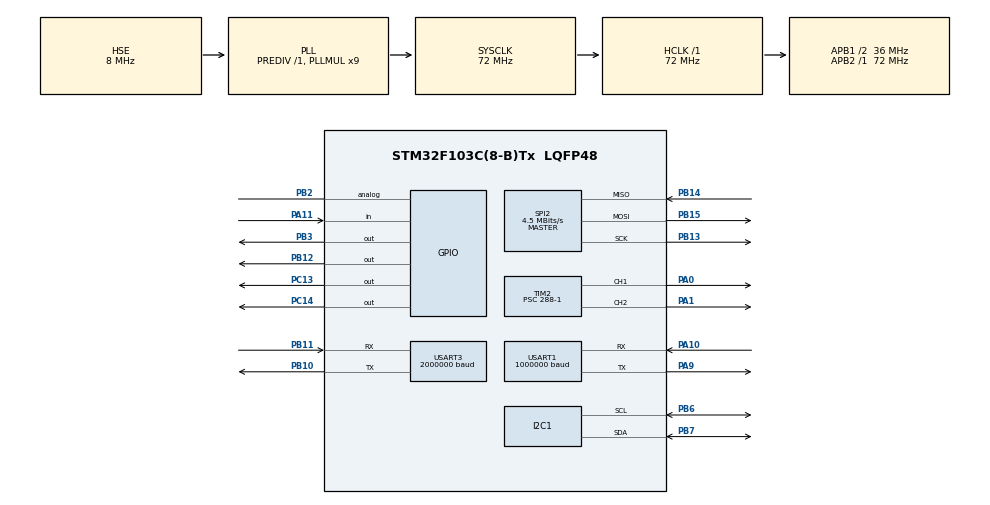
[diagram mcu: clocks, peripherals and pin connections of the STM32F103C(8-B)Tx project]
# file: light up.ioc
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Dma.Request0=USART1_RX
Dma.Request1=USART3_TX
Dma.USART1_RX.0.Direction=DMA_PERIPH_TO_MEMORY
Dma.USART1_RX.0.Instance=DMA1_Channel5
Dma.USART1_RX.0.MemDataAlignment=DMA_MDATAALIGN_BYTE
Dma.USART1_RX.0.MemInc=DMA_MINC_ENABLE
Dma.USART1_RX.0.Mode=DMA_CIRCULAR
Dma.USART1_RX.0.PeriphDataAlignment=DMA_PDATAALIGN_BYTE
Dma.USART1_RX.0.PeriphInc=DMA_PINC_DISABLE
Dma.USART1_RX.0.Priority=DMA_PRIORITY_LOW
Dma.USART3_TX.1.Direction=DMA_MEMORY_TO_PERIPH
Dma.USART3_TX.1.Instance=DMA1_Channel2
Dma.USART3_TX.1.MemDataAlignment=DMA_MDATAALIGN_BYTE
Dma.USART3_TX.1.MemInc=DMA_MINC_ENABLE
Dma.USART3_TX.1.Mode=DMA_NORMAL
Dma.USART3_TX.1.PeriphDataAlignment=DMA_PDATAALIGN_BYTE
Dma.USART3_TX.1.PeriphInc=DMA_PINC_DISABLE
Dma.USART3_TX.1.Priority=DMA_PRIORITY_VERY_HIGH
I2C1.I2C_Mode=I2C_Fast
Mcu.Family=STM32F1
Mcu.Name=STM32F103C(8-B)Tx
Mcu.Package=LQFP48
NVIC.DMA1_Channel2_IRQn=true\:0\:0\:false\:false\:true\:false\:true\:true
NVIC.DMA1_Channel5_IRQn=true\:1\:1\:true\:false\:true\:false\:true\:true
NVIC.PriorityGroup=NVIC_PRIORITYGROUP_3
NVIC.TIM1_UP_IRQn=true\:2\:1\:true\:false\:true\:true\:true\:true
NVIC.TIM2_IRQn=true\:4\:0\:true\:false\:true\:true\:true\:true
NVIC.TIM3_IRQn=true\:4\:0\:true\:false\:true\:true\:true\:true
NVIC.TIM4_IRQn=true\:2\:1\:true\:false\:true\:true\:true\:true
NVIC.USART1_IRQn=true\:3\:1\:true\:false\:true\:true\:true\:true
NVIC.USART3_IRQn=true\:3\:0\:true\:false\:true\:true\:true\:true
PA0-WKUP.Signal=S_TIM2_CH1_ETR
PA1.Signal=S_TIM2_CH2
PA10.Mode=Asynchronous
PA10.Signal=USART1_RX
PA11.GPIO_PuPd=GPIO_PULLUP
PA11.Signal=GPIO_Input
PA13.Mode=Serial_Wire
PA13.Signal=SYS_JTMS-SWDIO
PA14.Mode=Serial_Wire
PA14.Signal=SYS_JTCK-SWCLK
PA2.Signal=USART2_TX
PA3.Signal=USART2_RX
PA9.Mode=Asynchronous
PA9.Signal=USART1_TX
PB10.Mode=Asynchronous
PB10.Signal=USART3_TX
PB11.Mode=Asynchronous
PB11.Signal=USART3_RX
PB12.GPIO_Speed=GPIO_SPEED_FREQ_HIGH
PB12.PinState=GPIO_PIN_SET
PB12.Signal=GPIO_Output
PB13.Mode=Full_Duplex_Master
PB13.Signal=SPI2_SCK
PB14.Mode=Full_Duplex_Master
PB14.Signal=SPI2_MISO
PB15.Mode=Full_Duplex_Master
PB15.Signal=SPI2_MOSI
PB2.Signal=GPIO_Analog
PB3.Signal=GPIO_Output
PB6.Mode=I2C
PB6.Signal=I2C1_SCL
PB7.Mode=I2C
PB7.Signal=I2C1_SDA
PC13-TAMPER-RTC.Signal=GPIO_Output
PC14-OSC32_IN.GPIO_Speed=GPIO_SPEED_FREQ_LOW
PC14-OSC32_IN.PinState=GPIO_PIN_SET
PC14-OSC32_IN.Signal=GPIO_Output
PD0-OSC_IN.Mode=HSE-External-Oscillator
PD0-OSC_IN.Signal=RCC_OSC_IN
PD1-OSC_OUT.Mode=HSE-External-Oscillator
PD1-OSC_OUT.Signal=RCC_OSC_OUT
ProjectManager.HeapSize=0x200
ProjectManager.StackSize=0x400
ProjectManager.TargetToolchain=MDK-ARM V5
RCC.AHBFreq_Value=72000000
RCC.APB1CLKDivider=RCC_HCLK_DIV2
RCC.APB1Freq_Value=36000000
RCC.APB1TimFreq_Value=72000000
RCC.APB2Freq_Value=72000000
RCC.APB2TimFreq_Value=72000000
RCC.HCLKFreq_Value=72000000
RCC.PLLMUL=RCC_PLL_MUL9
RCC.PLLSourceVirtual=RCC_PLLSOURCE_HSE
RCC.RCC_MCOSource=RCC_MCO1SOURCE_PLLCLK
RCC.SYSCLKFreq_VALUE=72000000
RCC.SYSCLKSource=RCC_SYSCLKSOURCE_PLLCLK
RCC.USBFreq_Value=72000000
SH.S_TIM2_CH1_ETR.0=TIM2_CH1,PWM Generation1 CH1
SH.S_TIM2_CH2.0=TIM2_CH2,PWM Generation2 CH2
SPI2.BaudRatePrescaler=SPI_BAUDRATEPRESCALER_8
SPI2.CLKPhase=SPI_PHASE_2EDGE
SPI2.CLKPolarity=SPI_POLARITY_HIGH
SPI2.CRCCalculation=SPI_CRCCALCULATION_DISABLE
SPI2.CalculateBaudRate=4.5 MBits/s
SPI2.Direction=SPI_DIRECTION_2LINES
SPI2.Mode=SPI_MODE_MASTER
SPI2.VirtualType=VM_MASTER
TIM1.AutoReloadPreload=TIM_AUTORELOAD_PRELOAD_ENABLE
TIM1.Period=10-1
TIM1.Prescaler=72-1
TIM2.AutoReloadPreload=TIM_AUTORELOAD_PRELOAD_ENABLE
TIM2.Channel-PWM\ Generation1\ CH1=TIM_CHANNEL_1
TIM2.Channel-PWM\ Generation2\ CH2=TIM_CHANNEL_2
TIM2.OCFastMode_PWM-PWM\ Generation1\ CH1=TIM_OCFAST_ENABLE
TIM2.OCFastMode_PWM-PWM\ Generation2\ CH2=TIM_OCFAST_ENABLE
TIM2.Period=50-1
TIM2.Prescaler=288-1
TIM2.Pulse-PWM\ Generation1\ CH1=25
TIM2.Pulse-PWM\ Generation2\ CH2=25
TIM3.AutoReloadPreload=TIM_AUTORELOAD_PRELOAD_DISABLE
TIM3.Period=1000-1
TIM3.Prescaler=7200-1
TIM4.Period=10-1
TIM4.Prescaler=7200-1
USART1.BaudRate=1000000
USART1.VirtualMode=VM_ASYNC
USART3.BaudRate=2000000
USART3.Mode=MODE_TX
USART3.VirtualMode=VM_ASYNC
VP_TIM1_VS_ClockSourceINT.Mode=Internal
VP_TIM2_VS_ClockSourceINT.Mode=Internal
VP_TIM3_VS_ClockSourceINT.Mode=Internal
VP_TIM4_VS_ClockSourceINT.Mode=Internal
board=custom

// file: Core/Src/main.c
/* USER CODE BEGIN Header */
/**
 ******************************************************************************
 * @file           : main.c
 * @brief          : Main program body
 ******************************************************************************
 * @attention
 *
 * Copyright (c) 2025 STMicroelectronics.
 * All rights reserved.
 *
 * This software is licensed under terms that can be found in the LICENSE file
 * in the root directory of this software component.
 * If no LICENSE file comes with this software, it is provided AS-IS.
 *
 ******************************************************************************
 */
/* USER CODE END Header */
#include "main.h"
#include "dma.h"
#include "i2c.h"
#include "spi.h"
#include "tim.h"
#include "usart.h"
#include "gpio.h"

/* USER CODE BEGIN PV */
sysWorkMode system_mode = MODE_CALIBRITION;
/* DRV8833 --------------------------------------------------------*/
DRV8833_HandleTypeDef hdrv1 = {
    .CHANNEL_A = {.direction = DRV_STAGE_COAST,
                  .htim      = &DRV_A_PWM_TIMER,
                  .CH1       = DRV_AIN1_PWM_CH1,
                  .CH2       = DRV_AIN2_PWM_CH2},
    // .CHANNEL_B   = {.direction = DRV_STAGE_COAST,
    //                 .htim      = &DRV_B_PWM_TIMER,
    //                 .CH1       = DRV_BIN1_PWM_CH1,
    //                 .CH2       = DRV_BIN2_PWM_CH2},
    .nSLEEP_Port = DRV_nSLEEP_GPIO_PORT,
    .nSLEEP_Pin  = DRV_nSLEEP_PIN,
};

volatile bool drv_excitingLevel = 0;
float drv_PWM_freq              = 200.0f;
float drv_PWM_DR                = 50.0f;
bool drv_PWM_isChanged          = true;
uint32_t drv_PWM_cnt            = 0;
uint32_t drv_PWM_halfCnt        = 0;
uint32_t drv_PWM_assertCnt      = 0;
volatile bool freq_scan_enabled = false;
volatile bool DR_scan_enabled   = false;

/* LDC1101 --------------------------------------------------------*/
LDC1101_HandleTypeDef ldc2       = {&hspi2, LDC2_CS_GPIO_PORT, LDC2_CS_PIN};
volatile bool ldc2_isWorking     = false;
volatile bool ldc2_isReading     = false;
volatile bool ldc2_isReadingPrev = false;
volatile bool ldc2_dataReady     = false;
uint8_t LDC_status               = 0;
uint16_t Rp_data                 = 0;
uint16_t L_data                  = 0;
uint32_t LHR_data                = 0;

/* Calibrition --------------------------------------------------------*/
extern float mean_episode[CAL_SAMPLE_EPISODE] = {0};
extern uint8_t cal_episode_cnt                = 0;
uint32_t cal_wait_start_tick                  = 0;
uint32_t cal_sample_cnt                       = 0;
uint64_t cal_sum                              = 0;
uint64_t cal_sum_sq                           = 0;
uint32_t cal_total_sample_cnt                 = 0;
uint64_t cal_total_sum                        = 0;
uint64_t cal_total_sum_sq                     = 0;
volatile CalState_t cal_state                 = CAL_IDLE;
uint16_t cal_current_position_um              = 0;

/* UART -----------------------------------------------------------*/
/* UART1 */
volatile uint8_t UART1_RX_activeBuffer = 0;
char UART1_RX_DMA_buffer[2][MSG_LEN]   = {0};
char UART1_TX_buffer[MSG_LEN]          = {0};
bool UART1_TX_send                     = false;
/* UART3 */
uint8_t UART3_TX_buffer[QUEUE_LEN * 9];
uint8_t frame[9];
uint8_t * volatile UART3_TX_head = UART3_TX_buffer;
uint8_t * volatile UART3_TX_tail = UART3_TX_buffer;
volatile bool UART3_DMA_busy     = false;
/* KEY ------------------------------------------------------------*/

/* OLED -----------------------------------------------------------*/

/* USER CODE END PV */

void SystemClock_Config(void);

/* USER CODE BEGIN 0 */
void DRV_Start(DRV8833_Channel *ch, TIM_HandleTypeDef *htim) {
    HAL_GPIO_WritePin(hdrv1.nSLEEP_Port, hdrv1.nSLEEP_Pin, GPIO_PIN_SET);
    HAL_TIM_PWM_Start(ch->htim, ch->CH1);
    HAL_TIM_PWM_Start(ch->htim, ch->CH2);

    HAL_TIM_Base_Start_IT(htim);
}
void DRV_Stop(DRV8833_Channel *ch, TIM_HandleTypeDef *htim) {
    HAL_GPIO_WritePin(hdrv1.nSLEEP_Port, hdrv1.nSLEEP_Pin, GPIO_PIN_RESET);
    HAL_TIM_PWM_Stop(ch->htim, ch->CH1);
    HAL_TIM_PWM_Stop(ch->htim, ch->CH2);

    HAL_TIM_Base_Stop_IT(htim);
    /* Keep TIM2 running for button scanning even when PWM is stopped. */
    HAL_TIM_Base_Start_IT(&htim2);
}

static uint16_t UART3_BufferUsedUnsafe(void) {
    const uint16_t buffer_len = sizeof(UART3_TX_buffer);
    uint16_t head_offset      = (uint16_t)(UART3_TX_head - UART3_TX_buffer);
    uint16_t tail_offset      = (uint16_t)(UART3_TX_tail - UART3_TX_buffer);

    if (head_offset >= tail_offset) {
        return head_offset - tail_offset;
    }
    return buffer_len - (tail_offset - head_offset);
}
/* Queue arbitrary TX bytes; call UART3_StartTx() after batching frames */
bool UART3_Enqueue(const uint8_t *data, uint16_t len) {
    uint32_t primask = __get_PRIMASK();
    __disable_irq(); /* Critical Section Begin */

    const uint16_t buffer_len = sizeof(UART3_TX_buffer);
    uint16_t used             = UART3_BufferUsedUnsafe();
    uint16_t free_space       = buffer_len - used - 1;

    if (free_space < len) {
        __set_PRIMASK(primask); /* Critical Section End */
        return false;
    }

    for (uint16_t i = 0; i < len; i++) {
        *UART3_TX_head = data[i];
        UART3_TX_head++;
        if (UART3_TX_head >= UART3_TX_buffer + buffer_len) {
            UART3_TX_head = UART3_TX_buffer;
        }
    }
    __set_PRIMASK(primask); /* Critical Section End */
    return true;
}
/* Start DMA transmission if idle; safe to call repeatedly */
void UART3_StartTx(void) {
    uint32_t primask = __get_PRIMASK();
    __disable_irq(); /* Critical Section Begin */
    if (UART3_DMA_busy || (UART3_TX_head == UART3_TX_tail)) {
        __set_PRIMASK(primask); /* Critical Section End */
        return;
    }

    const uint16_t buffer_len = sizeof(UART3_TX_buffer);
    uint8_t *start            = UART3_TX_tail;
    uint16_t size;
    if (UART3_TX_head > UART3_TX_tail) {
        size = (uint16_t)(UART3_TX_head - UART3_TX_tail);
    } else {
        size = (uint16_t)((UART3_TX_buffer + buffer_len) - UART3_TX_tail);
    }
    UART3_DMA_busy = true;
    __set_PRIMASK(primask);

    if (HAL_UART_Transmit_DMA(&huart3, start, size) != HAL_OK) {
        primask = __get_PRIMASK();
        __disable_irq(); /* Critical Section Begin */
        UART3_DMA_busy = false;
        __set_PRIMASK(primask); /* Critical Section End */
    }
}
void UART1_Log(const char *level, const char *file, int line, const char *message) {
    uint32_t ticks   = HAL_GetTick();
    uint32_t hours   = ticks / 3600000U;
    uint32_t minutes = (ticks / 60000U) % 60U;
    uint32_t seconds = (ticks / 1000U) % 60U;
    uint32_t millis  = ticks % 1000U;
    char time_buf[16];
    snprintf(time_buf, sizeof(time_buf), "%02lu:%02lu:%02lu.%03lu", (unsigned long)hours, (unsigned long)minutes,
             (unsigned long)seconds, (unsigned long)millis);

    char msg_copy[MSG_LEN];
    strncpy(msg_copy, message, MSG_LEN - 1);
    msg_copy[MSG_LEN - 1] = '\0';

    snprintf(UART1_TX_buffer, MSG_LEN, "[%s] [%s] [%s:%d] %s\r\n", level, time_buf, file, line, msg_copy);
    HAL_UART_Transmit(&huart1, (uint8_t *)UART1_TX_buffer, strlen(UART1_TX_buffer), HAL_MAX_DELAY);
}

static void StartReading(void) {
    DRV_Start(&hdrv1.CHANNEL_A, &htim1);
    HAL_TIM_Base_Stop_IT(&htim3);
}
static void StopReading(void) {
    DRV_Stop(&hdrv1.CHANNEL_A, &htim1);
    HAL_TIM_Base_Start_IT(&htim3);

    HAL_UART_DMAStop(&huart3);
    UART3_DMA_busy = false;
    UART3_TX_head = UART3_TX_tail = UART3_TX_buffer;
    memset(UART3_TX_buffer, 0, sizeof(UART3_TX_buffer));
}

/* USER CODE END 0 */

int main(void) {

    /* MCU Configuration--------------------------------------------------------*/

    /* Reset of all peripherals, Initializes the Flash interface and the Systick. */
    HAL_Init();

    /* Configure the system clock */
    SystemClock_Config();

    /* Initialize all configured peripherals */
    MX_GPIO_Init();
    MX_DMA_Init();
    MX_USART1_UART_Init();
    MX_USART3_UART_Init();
    MX_I2C1_Init();
    MX_SPI2_Init();
    MX_TIM1_Init();
    MX_TIM2_Init();
    MX_TIM3_Init();
    MX_TIM4_Init();
    /* USER CODE BEGIN 2 */
    buttons_init();
    HAL_TIM_Base_Start_IT(&htim2);
    if (system_mode == MODE_CALIBRITION) {
        cal_current_position_um = CALIBRITION_START_UM;
        uint8_t init_frame[11];
        memset(init_frame, 0xFF, sizeof(init_frame));
        bool init_enqueued = UART3_Enqueue(init_frame, sizeof(init_frame));
        if (init_enqueued) {
            UART3_StartTx();
        }
    }

    snprintf(UART1_TX_buffer, sizeof(UART1_TX_buffer), "System Mode: %s", system_mode ? "CALIBRITION" : "MEASUREMENT");
    UART1_Log("INFO", "main.c", __LINE__, UART1_TX_buffer);

    /* UART1 DMA Init */
    HAL_UART_Receive_DMA(&huart1, (uint8_t *)UART1_RX_DMA_buffer[UART1_RX_activeBuffer], MSG_LEN);
    __HAL_UART_ENABLE_IT(&huart1, UART_IT_IDLE);

    /* OLED Init */
    OLED_Init();
    OLED_Clear();
    OLED_Display_On();
    HAL_TIM_Base_Start_IT(&htim3);
    /* DRV8833 Init */
    DRV_Init(&hdrv1);
    UART1_Log("INFO", "main.c", __LINE__, "DRV8833 Initialization Done...");

    /* LDC1101 Init */
    if (ldc1101_init(&ldc2, _LDC1101_RP_SET_RP_MIN_1_5KOhm)) {
        UART1_Log("ERROR", "main.c", __LINE__, "LDC1101 Initialization Failed...");
    } else {
        UART1_Log("INFO", "main.c", __LINE__, "LDC1101 Initialization Done...");
        uint16_t rcount = (uint16_t)(ldc1101_readByte(&ldc2, _LDC1101_REG_LHR_RCOUNT_LSB));
        rcount |= (uint16_t)(ldc1101_readByte(&ldc2, _LDC1101_REG_LHR_RCOUNT_MSB) << 8);
        const float f_clk_hz    = 16000000.0f;                 // LDC1101 Extenal Reference Clock Frequency = 16MHz
        const float conv_cycles = (float)(rcount * 16U + 55U); // RCOUNT*16 + 55 reference cycles
        float sample_rate_hz    = f_clk_hz / conv_cycles;
        float sample_rate_ksps  = sample_rate_hz / 1000.0f;
        snprintf(UART1_TX_buffer, sizeof(UART1_TX_buffer), "LDC1101 sample rate: %.3f kSPS (RCOUNT=0x%04X)",
                 sample_rate_ksps, rcount);
        UART1_Log("TRACE", "main.c", __LINE__, UART1_TX_buffer);
        ldc2_isWorking = true;
    }
    /* USER CODE END 2 */

    /* Infinite loop */
    /* USER CODE BEGIN WHILE */
    while (1) {
        if (system_mode == MODE_MEASUREMENT) {
            /* DRV8833 Frequency Control */
            if (drv_PWM_isChanged) {
                // TIM1 Interrupt Frequency = 100kHz  (72MHz / 72 / 10)
                const float baseFreq = 100000.0f;
                // Calculate the number of interrupts needed for one period
                float cnt_f       = baseFreq / drv_PWM_freq;
                drv_PWM_cnt       = (uint32_t)(cnt_f + 0.5f);
                float assert_f    = cnt_f * (drv_PWM_DR / 100.0f);
                drv_PWM_assertCnt = (uint32_t)(assert_f + 0.5f);
                drv_PWM_halfCnt   = drv_PWM_cnt / 2;
                drv_PWM_isChanged = false;
            }

            /* LDC Reading Control */
            if (ldc2_isReading != ldc2_isReadingPrev) {
                if (ldc2_isReading)
                    StartReading();
                else
                    StopReading();
                ldc2_isReadingPrev = ldc2_isReading;
            }
            /* LDC Data Get and Transmit */
            if (ldc2_isReading) {
                LDC_status = ldc1101_readByte(&ldc2, _LDC1101_REG_LHR_STATUS);
                if ((LDC_status & 0x01) == 0)
                    ldc2_dataReady = true;
                if (ldc2_dataReady) {
                    ldc2_dataReady = false;
                    LHR_data       = ldc1101_getLHRData(&ldc2);
                    // === frame [LHR(4B)][Freq(2B)][Duty(1B)][Level(1B)][Pad(2B)] ===
                    frame[0]             = (uint8_t)(LHR_data);
                    frame[1]             = (uint8_t)(LHR_data >> 8);
                    frame[2]             = (uint8_t)(LHR_data >> 16);
                    frame[3]             = (uint8_t)(LHR_data >> 24);
                    uint16_t freq_scaled = (uint16_t)(drv_PWM_freq * 100.0f);
                    frame[4]             = (uint8_t)(freq_scaled);
                    frame[5]             = (uint8_t)(freq_scaled >> 8);
                    frame[6]             = (uint8_t)drv_PWM_DR;
                    frame[7]             = (uint8_t)drv_excitingLevel;
                    frame[8]             = 0xAA;

                    // ===== enqueue frame into ring buffer =====
                    bool frame_enqueued = UART3_Enqueue(frame, sizeof(frame));

                    // ===== Data Transmission =====
                    if (frame_enqueued) {
                        UART3_StartTx();
                    }
                }
            }
        } else if (system_mode == MODE_CALIBRITION) {
            /* LDC Reading Control */
            switch (cal_state) {
                case CAL_WAIT_SETTLE:
                    if ((HAL_GetTick() - cal_wait_start_tick) >= CAL_SETTLE_TIME_MS) {
                        cal_state = CAL_SAMPLING;
                    } else {
                        break;
                    }
                    /* fallthrough */
                case CAL_SAMPLING:
                    HAL_TIM_Base_Stop_IT(&htim3);
                    LDC_status = ldc1101_readByte(&ldc2, _LDC1101_REG_LHR_STATUS);
                    if ((LDC_status & 0x01) == 0) {
                        ldc2_dataReady = true;
                    }
                    if (ldc2_dataReady) {
                        ldc2_dataReady = false;
                        LHR_data       = ldc1101_getLHRData(&ldc2);
                        cal_sample_cnt++;
                        cal_sum += LHR_data;
                        cal_sum_sq += (uint64_t)LHR_data * LHR_data;
                        cal_total_sample_cnt++;
                        cal_total_sum += LHR_data;
                        cal_total_sum_sq += (uint64_t)LHR_data * LHR_data;
                        // ===== Data Transmission =====
                        if (cal_sample_cnt >= CAL_SAMPLE_NUM) {
                            cal_state = CAL_DONE;
                        }
                    }
                    if (cal_state != CAL_DONE) {
                        break;
                    }
                    /* fallthrough */
                case CAL_DONE: {
                    float sample_cnt              = (float)cal_sample_cnt;
                    float episode_mean            = (float)cal_sum / sample_cnt;
                    mean_episode[cal_episode_cnt] = episode_mean;
                    cal_episode_cnt++;

                    if (cal_episode_cnt < CAL_SAMPLE_EPISODE) {
                        cal_sample_cnt      = 0;
                        cal_sum             = 0;
                        cal_sum_sq          = 0;
                        cal_wait_start_tick = HAL_GetTick();
                        cal_state           = CAL_WAIT_SETTLE;
                    } else {
                        float total_cnt = (float)cal_total_sample_cnt;
                        float mean      = (float)cal_total_sum / total_cnt;
                        float var       = (float)cal_total_sum_sq / total_cnt - mean * mean;
                        uint8_t cal_frame[11];
                        /* Frame: [cal_current_position_um(2B)][mean(4B float LE)][var(4B float LE)][0xAA] */
                        memcpy(&cal_frame[0], &cal_current_position_um, sizeof(cal_current_position_um));
                        memcpy(&cal_frame[2], &mean, sizeof(float));
                        memcpy(&cal_frame[6], &var, sizeof(float));
                        cal_frame[10] = 0xAA;

                        bool enqueued = UART3_Enqueue(cal_frame, sizeof(cal_frame));
                        if (enqueued) {
                            UART3_StartTx();
                        }
                        if (CALIBRITION_STEP_DIR == 1) // 减少
                            cal_current_position_um -= CALIBRITION_STEP_UM;
                        else if (CALIBRITION_STEP_DIR == 0) // 原地观测
                            ;
                        else if (CALIBRITION_STEP_DIR == -1) // 增加
                            cal_current_position_um += CALIBRITION_STEP_UM;
                        cal_state = CAL_IDLE; // ready for the next button-triggered sampling
                        HAL_GPIO_TogglePin(GPIOC, GPIO_PIN_14);
                        HAL_TIM_Base_Start_IT(&htim3);
                    }
                    break;
                }
                default:
                    break;
            }
        }
        /* USER CODE END WHILE */

        /* USER CODE BEGIN 3 */
        /* UART1 Transmission */
        if (UART1_TX_send) {
            HAL_UART_Transmit(&huart1, (uint8_t *)UART1_TX_buffer, strlen(UART1_TX_buffer), HAL_MAX_DELAY);
            UART1_TX_send = false;
            memset(UART1_TX_buffer, 0, MSG_LEN);
        }
        /* USER CODE END 3 */
    }
}

void SystemClock_Config(void) {
    RCC_OscInitTypeDef RCC_OscInitStruct = {0};
    RCC_ClkInitTypeDef RCC_ClkInitStruct = {0};

    /** Initializes the RCC Oscillators according to the specified parameters
     * in the RCC_OscInitTypeDef structure.
     */
    RCC_OscInitStruct.OscillatorType = RCC_OSCILLATORTYPE_HSE;
    RCC_OscInitStruct.HSEState       = RCC_HSE_ON;
    RCC_OscInitStruct.HSEPredivValue = RCC_HSE_PREDIV_DIV1;
    RCC_OscInitStruct.HSIState       = RCC_HSI_ON;
    RCC_OscInitStruct.PLL.PLLState   = RCC_PLL_ON;
    RCC_OscInitStruct.PLL.PLLSource  = RCC_PLLSOURCE_HSE;
    RCC_OscInitStruct.PLL.PLLMUL     = RCC_PLL_MUL9;
    if (HAL_RCC_OscConfig(&RCC_OscInitStruct) != HAL_OK) {
        Error_Handler();
    }

    /** Initializes the CPU, AHB and APB buses clocks
     */
    RCC_ClkInitStruct.ClockType = RCC_CLOCKTYPE_HCLK | RCC_CLOCKTYPE_SYSCLK | RCC_CLOCKTYPE_PCLK1 | RCC_CLOCKTYPE_PCLK2;
    RCC_ClkInitStruct.SYSCLKSource   = RCC_SYSCLKSOURCE_PLLCLK;
    RCC_ClkInitStruct.AHBCLKDivider  = RCC_SYSCLK_DIV1;
    RCC_ClkInitStruct.APB1CLKDivider = RCC_HCLK_DIV2;
    RCC_ClkInitStruct.APB2CLKDivider = RCC_HCLK_DIV1;

    if (HAL_RCC_ClockConfig(&RCC_ClkInitStruct, FLASH_LATENCY_2) != HAL_OK) {
        Error_Handler();
    }
}

void Error_Handler(void) {
    __disable_irq();
    while (1) {
    }
}

#ifdef USE_FULL_ASSERT
/**
 * @brief  Reports the name of the source file and the source line number
 *         where the assert_param error has occurred.
 * @param  file: pointer to the source file name
 * @param  line: assert_param error line source number
 * @retval None
 */
void assert_failed(uint8_t *file, uint32_t line) {
    /* USER CODE BEGIN 6 */
    /* User can add his own implementation to report the file name and line
       number, ex: printf("Wrong parameters value: file %s on line %d\r\n",
       file, line) */
    /* USER CODE END 6 */
}
#endif /* USE_FULL_ASSERT */
